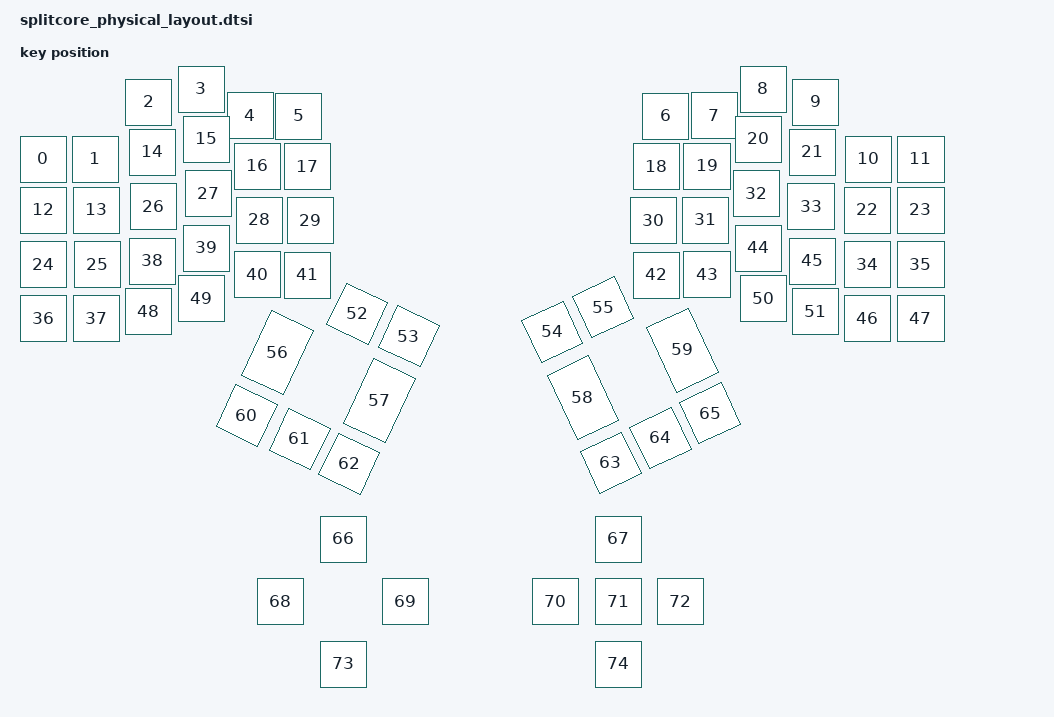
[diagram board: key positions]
#include <physical_layouts.dtsi>

/ {
    physical_layout0: physical_layout_0 {
        compatible = "zmk,physical-layout";
        display-name = "Default Layout";

        kscan = <&kscan0>;
        transform = <&default_transform>;

        keys  //                     w   h    x    y     rot    rx    ry
            = <&key_physical_attrs 100 100    0  140       0     0     0>
            , <&key_physical_attrs 100 100  104  140       0     0     0>
            , <&key_physical_attrs 100 100  211   26       0     0     0>
            , <&key_physical_attrs 100 100  316    0       0     0     0>
            , <&key_physical_attrs 100 100  414   53       0     0     0>
            , <&key_physical_attrs 100 100  511   54       0     0     0>
            , <&key_physical_attrs 100 100 1245   54       0     0     0>
            , <&key_physical_attrs 100 100 1342   53       0     0     0>
            , <&key_physical_attrs 100 100 1440    0       0     0     0>
            , <&key_physical_attrs 100 100 1545   26       0     0     0>
            , <&key_physical_attrs 100 100 1651  140       0     0     0>
            , <&key_physical_attrs 100 100 1756  140       0     0     0>
            , <&key_physical_attrs 100 100    0  242       0     0     0>
            , <&key_physical_attrs 100 100  107  242       0     0     0>
            , <&key_physical_attrs 100 100  218  126       0     0     0>
            , <&key_physical_attrs 100 100  326  100       0     0     0>
            , <&key_physical_attrs 100 100  428  154       0     0     0>
            , <&key_physical_attrs 100 100  529  155       0     0     0>
            , <&key_physical_attrs 100 100 1227  155       0     0     0>
            , <&key_physical_attrs 100 100 1328  154       0     0     0>
            , <&key_physical_attrs 100 100 1430  100       0     0     0>
            , <&key_physical_attrs 100 100 1538  126       0     0     0>
            , <&key_physical_attrs 100 100 1649  242       0     0     0>
            , <&key_physical_attrs 100 100 1756  242       0     0     0>
            , <&key_physical_attrs 100 100    0  351       0     0     0>
            , <&key_physical_attrs 100 100  108  351       0     0     0>
            , <&key_physical_attrs 100 100  220  235       0     0     0>
            , <&key_physical_attrs 100 100  330  209       0     0     0>
            , <&key_physical_attrs 100 100  432  262       0     0     0>
            , <&key_physical_attrs 100 100  535  263       0     0     0>
            , <&key_physical_attrs 100 100 1221  263       0     0     0>
            , <&key_physical_attrs 100 100 1324  262       0     0     0>
            , <&key_physical_attrs 100 100 1426  209       0     0     0>
            , <&key_physical_attrs 100 100 1536  235       0     0     0>
            , <&key_physical_attrs 100 100 1648  351       0     0     0>
            , <&key_physical_attrs 100 100 1756  351       0     0     0>
            , <&key_physical_attrs 100 100    0  459       0     0     0>
            , <&key_physical_attrs 100 100  107  459       0     0     0>
            , <&key_physical_attrs 100 100  218  344       0     0     0>
            , <&key_physical_attrs 100 100  326  318       0     0     0>
            , <&key_physical_attrs 100 100  428  371       0     0     0>
            , <&key_physical_attrs 100 100  529  372       0     0     0>
            , <&key_physical_attrs 100 100 1227  372       0     0     0>
            , <&key_physical_attrs 100 100 1328  371       0     0     0>
            , <&key_physical_attrs 100 100 1430  318       0     0     0>
            , <&key_physical_attrs 100 100 1538  344       0     0     0>
            , <&key_physical_attrs 100 100 1649  459       0     0     0>
            , <&key_physical_attrs 100 100 1756  459       0     0     0>
            , <&key_physical_attrs 100 100  211  445       0     0     0>
            , <&key_physical_attrs 100 100  316  419       0     0     0>
            , <&key_physical_attrs 100 100 1440  419       0     0     0>
            , <&key_physical_attrs 100 100 1545  445       0     0     0>
            , <&key_physical_attrs 100 100  630  450    2500   680   497>
            , <&key_physical_attrs 100 100  735  485    2500   762   533>
            , <&key_physical_attrs 100 100 1020  475 (-2500)  1094   533>
            , <&key_physical_attrs 100 100 1125  435 (-2500)  1176   497>
            , <&key_physical_attrs 150 100  430  515 (-6500)   522   560>
            , <&key_physical_attrs 150 100  595  645 (-6500)   679   643>
            , <&key_physical_attrs 150 100 1100  540 (-11500)  1177   643>
            , <&key_physical_attrs 150 100 1250  500 (-11500)  1334   560>
            , <&key_physical_attrs 100 100  420  655    2500   468   676>
            , <&key_physical_attrs 100 100  525  690    2500   546   719>
            , <&key_physical_attrs 100 100  625  730    2500   625   762>
            , <&key_physical_attrs 100 100 1125  725 (-2500)  1231   762>
            , <&key_physical_attrs 100 100 1225  685 (-2500)  1310   719>
            , <&key_physical_attrs 100 100 1325  645 (-2500)  1388   676>
            , <&key_physical_attrs 100 100  600  900       0     0     0>
            , <&key_physical_attrs 100 100 1150  900       0     0     0>
            , <&key_physical_attrs 100 100  475 1025       0     0     0>
            , <&key_physical_attrs 100 100  725 1025       0     0     0>
            , <&key_physical_attrs 100 100 1025 1025       0     0     0>
            , <&key_physical_attrs 100 100 1150 1025       0     0     0>
            , <&key_physical_attrs 100 100 1275 1025       0     0     0>
            , <&key_physical_attrs 100 100  600 1150       0     0     0>
            , <&key_physical_attrs 100 100 1150 1150       0     0     0>
            ;
    };
};
